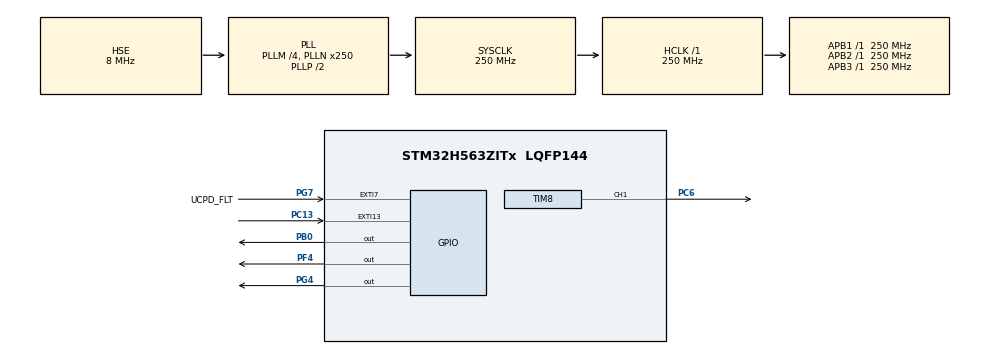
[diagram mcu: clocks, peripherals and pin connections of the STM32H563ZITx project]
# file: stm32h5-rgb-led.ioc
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BOOTPATH.BootPathName=LEGACY
BOOTPATH.UserSelectedBootPath=LEGACY
CORTEX_M33_NS.userName=CORTEX_M33
GPDMA1.CIRCULARMODE_GPDMACH0=ENABLE
GPDMA1.DESTDATAWIDTH_GPDMACH0=DMA_DEST_DATAWIDTH_WORD
GPDMA1.DIRECTION_GPDMACH0=DMA_MEMORY_TO_PERIPH
GPDMA1.IPHANDLE_GPDMACH0-SIMPLEREQUEST_GPDMACH0=__NULL
GPDMA1.REQUEST_GPDMACH0=GPDMA1_REQUEST_TIM8_CH1
GPDMA1.SRCDATAWIDTH_GPDMACH0=DMA_SRC_DATAWIDTH_WORD
GPDMA1.SRCINC_GPDMACH0=DMA_SINC_INCREMENTED
Mcu.Family=STM32H5
Mcu.Name=STM32H563ZITx
Mcu.Package=LQFP144
NUCLEO-H563ZI.BUTTON=1
NUCLEO-H563ZI.LD1=true
NUCLEO-H563ZI.LD2=true
NUCLEO-H563ZI.LD3=true
NUCLEO-H563ZI.VCP=true
NVIC.EXTI13_IRQn=true\:0\:0\:false\:false\:true\:false\:true\:true
NVIC.GPDMA1_Channel0_IRQn=true\:0\:0\:false\:false\:true\:false\:true\:true
NVIC.PriorityGroup=NVIC_PRIORITYGROUP_4
PA1.GPIO_Label=RMII_REF_CLK
PA1.GPIO_Mode=GPIO_MODE_AF_PP
PA1.GPIO_PuPd=GPIO_NOPULL
PA1.GPIO_Speed=GPIO_SPEED_FREQ_LOW
PA1.Signal=ETH_REF_CLK
PA11.GPIO_Label=USB_FS_N
PA11.Signal=USB_DM
PA12.GPIO_Label=USB_FS_P
PA12.Signal=USB_DP
PA13(JTMS/SWDIO).GPIO_Label=SWDIO
PA13(JTMS/SWDIO).Signal=DEBUG_JTMS-SWDIO
PA14(JTCK/SWCLK).GPIO_Label=SWCLK
PA14(JTCK/SWCLK).Signal=DEBUG_JTCK-SWCLK
PA15(JTDI).GPIO_Label=T_JTDI
PA15(JTDI).Signal=DEBUG_JTDI
PA2.GPIO_Label=RMII_MDIO
PA2.GPIO_Mode=GPIO_MODE_AF_PP
PA2.GPIO_PuPd=GPIO_NOPULL
PA2.GPIO_Speed=GPIO_SPEED_FREQ_LOW
PA2.Signal=ETH_MDIO
PA4.GPIO_Label=VBUS_SENSE
PA4.Signal=ADCx_INP18
PA7.GPIO_Label=RMII_CRS_DV
PA7.GPIO_Mode=GPIO_MODE_AF_PP
PA7.GPIO_PuPd=GPIO_NOPULL
PA7.GPIO_Speed=GPIO_SPEED_FREQ_LOW
PA7.Signal=ETH_CRS_DV
PA9.GPIO_Label=UCDP_DBn
PA9.Signal=UCPD1_DB1
PB0.Signal=GPIO_Output
PB13.GPIO_Label=UCPD_CC1
PB13.Signal=UCPD1_CC1
PB14.GPIO_Label=UCPD_CC2
PB14.Signal=UCPD1_CC2
PB15.GPIO_Label=RMII_TXD1
PB15.GPIO_Mode=GPIO_MODE_AF_PP
PB15.GPIO_PuPd=GPIO_NOPULL
PB15.GPIO_Speed=GPIO_SPEED_FREQ_LOW
PB15.Signal=ETH_TXD1
PB3(JTDO/TRACESWO).GPIO_Label=SWO
PB3(JTDO/TRACESWO).Signal=DEBUG_JTDO-SWO
PB6.GPIO_Label=ARD_D1_TX
PB6.Signal=LPUART1_TX
PB7.GPIO_Label=ARD_D0_RX
PB7.Signal=LPUART1_RX
PC1.GPIO_Label=RMII_MDC
PC1.GPIO_Mode=GPIO_MODE_AF_PP
PC1.GPIO_PuPd=GPIO_NOPULL
PC1.GPIO_Speed=GPIO_SPEED_FREQ_LOW
PC1.Signal=ETH_MDC
PC13.Signal=GPXTI13
PC14-OSC32_IN(OSC32_IN).Mode=LSE-External-Oscillator
PC14-OSC32_IN(OSC32_IN).Signal=RCC_OSC32_IN
PC15-OSC32_OUT(OSC32_OUT).Mode=LSE-External-Oscillator
PC15-OSC32_OUT(OSC32_OUT).Signal=RCC_OSC32_OUT
PC4.GPIO_Label=RMII_RXD0
PC4.GPIO_Mode=GPIO_MODE_AF_PP
PC4.GPIO_PuPd=GPIO_NOPULL
PC4.GPIO_Speed=GPIO_SPEED_FREQ_LOW
PC4.Signal=ETH_RXD0
PC5.GPIO_Label=RMII_RXD1
PC5.GPIO_Mode=GPIO_MODE_AF_PP
PC5.GPIO_PuPd=GPIO_NOPULL
PC5.GPIO_Speed=GPIO_SPEED_FREQ_LOW
PC5.Signal=ETH_RXD1
PC6.Signal=S_TIM8_CH1
PD8.Signal=USART3_TX
PD9.Signal=USART3_RX
PE2.GPIO_Label=TRACE_CK
PE2.Signal=DEBUG_TRACECLK
PE3.GPIO_Label=TRACE_D0
PE3.Signal=DEBUG_TRACED0
PE4.GPIO_Label=TRACE_D1
PE4.Signal=DEBUG_TRACED1
PE5.GPIO_Label=TRACE_D2
PE5.Signal=DEBUG_TRACED2
PE6.GPIO_Label=TRACE_D3
PE6.Signal=DEBUG_TRACED3
PF4.Signal=GPIO_Output
PG11.GPIO_Label=RMII_TXT_EN
PG11.GPIO_Mode=GPIO_MODE_AF_PP
PG11.GPIO_PuPd=GPIO_NOPULL
PG11.GPIO_Speed=GPIO_SPEED_FREQ_LOW
PG11.Signal=ETH_TX_EN
PG13.GPIO_Label=RMI_TXD0
PG13.GPIO_Mode=GPIO_MODE_AF_PP
PG13.GPIO_PuPd=GPIO_NOPULL
PG13.GPIO_Speed=GPIO_SPEED_FREQ_LOW
PG13.Signal=ETH_TXD0
PG4.Signal=GPIO_Output
PG7.GPIO_Label=UCPD_FLT
PG7.Signal=GPXTI7
PH0-OSC_IN(PH0).GPIO_Label=STLK_MCO
PH0-OSC_IN(PH0).Mode=HSE-External-Clock-Source
PH0-OSC_IN(PH0).Signal=RCC_OSC_IN
ProjectManager.HeapSize=0x200
ProjectManager.StackSize=0x400
ProjectManager.TargetToolchain=STM32CubeIDE
RCC.ADCFreq_Value=250000000
RCC.AHBFreq_Value=250000000
RCC.APB1Freq_Value=250000000
RCC.APB1TimFreq_Value=250000000
RCC.APB2Freq_Value=250000000
RCC.APB2TimFreq_Value=250000000
RCC.APB3Freq_Value=250000000
RCC.CSI_VALUE=4000000
RCC.CortexFreq_Value=250000000
RCC.EPOD_VALUE=8000000
RCC.HCLKFreq_Value=250000000
RCC.HSE_VALUE=8000000
RCC.HSI48_VALUE=48000000
RCC.HSIDiv=RCC_HSI_DIV1
RCC.HSI_VALUE=64000000
RCC.LSIRC_VALUE=32000
RCC.PLLM=4
RCC.PLLN=250
RCC.PLLSourceVirtual=RCC_PLL1_SOURCE_HSE
RCC.SYSCLKFreq_VALUE=250000000
RCC.SYSCLKSource=RCC_SYSCLKSOURCE_PLLCLK
RCC.USBFreq_Value=48000000
RCC.VCOOutputFreq_Value=500000000
SH.ADCx_INP18.0=ADC1_INP18
SH.S_TIM8_CH1.0=TIM8_CH1,PWM Generation1 CH1
TIM8.Channel-PWM\ Generation1\ CH1=TIM_CHANNEL_1
TIM8.PeriodNoDither=311
VP_BOOTPATH_VS_BOOTPATH.Mode=BP_Activate
VP_CORTEX_M33_NS_VS_Hclk.Mode=Hclk_Mode
VP_GPDMA1_VS_GPDMACH0.Mode=SIMPLEREQUEST_GPDMACH0
VP_MEMORYMAP_VS_MEMORYMAP.Mode=CurAppReg
VP_NUCLEO-H563ZI_VS_BSP_COMMON.Mode=COMMON
VP_PWR_VS_DBSignals.Mode=DisableDeadBatterySignals
VP_PWR_VS_LPOM.Mode=PowerOptimisation
VP_PWR_VS_SECSignals.Mode=Security/Privilege
VP_TIM8_VS_ClockSourceINT.Mode=Internal
board=NUCLEO-H563ZI

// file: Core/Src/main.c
/* USER CODE BEGIN Header */
/**
  ******************************************************************************
  * @file           : main.c
  * @brief          : Main program body
  ******************************************************************************
  * @attention
  *
  * Copyright (c) 2024 STMicroelectronics.
  * All rights reserved.
  *
  * This software is licensed under terms that can be found in the LICENSE file
  * in the root directory of this software component.
  * If no LICENSE file comes with this software, it is provided AS-IS.
  *
  ******************************************************************************
  */
/* USER CODE END Header */
#include "main.h"

/* USER CODE BEGIN Includes */
#include <stdint.h>
#include <stdlib.h>
/* USER CODE END Includes */

COM_InitTypeDef BspCOMInit;

TIM_HandleTypeDef htim8;
DMA_NodeTypeDef Node_GPDMA1_Channel0;
DMA_QListTypeDef List_GPDMA1_Channel0;
DMA_HandleTypeDef handle_GPDMA1_Channel0;

/* USER CODE BEGIN PV */
#define NUM_LEDS 6
#define BITS_PER_PIXEL (4 * 8)  // For strips with dedicated alpha

/**
 * Prescaler = 0 to keep the timer frequency at 250MHz (aka 4ns per cnt)
 * The WS2812B datasheet specifies that the PWM period should be 1.25us.
 * The closest that can be is 312, so set the period (ARR) value to 311
 * The duty cycle for a HI bit is 66%, and the duty for a LO bit is 33%
 */
const uint32_t WS2812_ARR = 311;
const uint32_t LED_HI_BIT = WS2812_ARR * 2 / 3;
const uint32_t LED_LO_BIT = WS2812_ARR * 1 / 3;

// My particular strip is GRBW
const uint32_t GREEN = 0xFF000000;
const uint32_t RED = 0x00FF0000;
const uint32_t BLUE = 0x0000FF00;
const uint32_t WHITE = 0x000000FF;
const uint32_t OFF = 0x00000000;

/**
 * How this particular strategy works is to have two LED's worth of duty-cycles in one DMA buffer.
 * The GPDMA fires an interrupt at every half transfer, and every full transfer.
 * This means at each interrupt, you can convert the next LED's worth of RGBW values into 24 u32's (led_pixel_buffer)
 */
static uint32_t led_pixel_buffer[BITS_PER_PIXEL * 2];

// This particular example does not reset the strip, it just blasts 6 LED's worth of data on the strip
uint32_t led_colors[NUM_LEDS] = {RED, WHITE, GREEN, BLUE, RED, OFF};
uint8_t current_led = 0;

/* USER CODE END PV */

void SystemClock_Config(void);
static void MX_GPIO_Init(void);
static void MX_GPDMA1_Init(void);
static void MX_TIM8_Init(void);
/* USER CODE BEGIN PFP */

static uint32_t reverse_bits(uint32_t orig);
static void grbw_to_pixel(uint32_t rgb, uint32_t* pixel_buf);
static void increment_led(uint8_t* led_count);

/* USER CODE END PFP */

/* USER CODE BEGIN 0 */

/**
 * Reverse bit order of a u32
 */
static uint32_t reverse_bits(uint32_t orig)
{
  uint32_t reversed = 0;
  const size_t num_bits = sizeof(orig) * 8;
  for (uint32_t i = 0; i< num_bits; i++)
  {
    if ((orig & (1 << i)))
    {
      reversed |= 1 << ((num_bits - 1) - i);
    }
  }

  return reversed;
}

/**
 * Convert a value from grbw space to the actual duty cycle values needed for the PWM waveform
 */
static void grbw_to_pixel(uint32_t grbw, uint32_t* pixel_buf)
{
  if (pixel_buf == NULL)
  {
    return;
  }

  /**
   * There is some wonky bit-wise stuff going on here.
   * My particular strip is GRBW. Which means that the green needs to be sent first
   * AKA the lower indices of pixel_buf.
   * However, in grbw_to_pixel we are incrementing i from 0, which means the green values
   * need to be evaluated first. This means that while my strip is GRBW, I need to reverse
   * the order of bits in the grbw value for them to be transmitted as grbw
   */
  uint32_t strip_order_grbw = reverse_bits(grbw);

  for (uint8_t i = 0; i < BITS_PER_PIXEL; i++)
  {
    uint32_t pix_mask = 1 << i;
    pixel_buf[i] = (pix_mask & strip_order_grbw) != 0 ? LED_HI_BIT : LED_LO_BIT;
  }
}

static void increment_led(uint8_t* led_count)
{
  *led_count += 1;
  if (*led_count >= NUM_LEDS)
  {
    *led_count = 0;
  }
}

/**
 * User implementation of the two GPDMA transfer callbacks (half transfer and full transfer)
 * As mentioned above, each of these callbacks will fire after transmitting one LED's worth of duty
 * cycles, as the full DMA buffer is two LED's worth of duty cycles.
 *
 * This allows us to use each callback to update the portion of led_pixel_buffer that just finished writing
 *
 *           1/2T         2/2T
 * >--------- v ---------- v ----------|
 * ^  LED1    |     LED2   |           |
 * |     update LED1    update LED2    |
 * |                                   |
 * |___________________________________|
 */
void HAL_TIM_PWM_PulseFinishedCallback(TIM_HandleTypeDef *htim)
{
  grbw_to_pixel(led_colors[current_led], &led_pixel_buffer[BITS_PER_PIXEL]);
  increment_led(&current_led);
}

void HAL_TIM_PWM_PulseFinishedHalfCpltCallback(TIM_HandleTypeDef *htim)
{
  grbw_to_pixel(led_colors[current_led], led_pixel_buffer);
  increment_led(&current_led);
}
/* USER CODE END 0 */

int main(void)
{

  /* USER CODE BEGIN 1 */
  // Filling the first two LED's so that each transfer is one LED worth
  grbw_to_pixel(led_colors[current_led], led_pixel_buffer);
  increment_led(&current_led);
  grbw_to_pixel(led_colors[current_led], &led_pixel_buffer[BITS_PER_PIXEL]);
  increment_led(&current_led);
  /* USER CODE END 1 */

  /* MCU Configuration--------------------------------------------------------*/

  /* Reset of all peripherals, Initializes the Flash interface and the Systick. */
  HAL_Init();

  /* Configure the system clock */
  SystemClock_Config();

  /* Initialize all configured peripherals */
  MX_GPIO_Init();
  MX_GPDMA1_Init();
  MX_TIM8_Init();
  /* USER CODE BEGIN 2 */

  // Even though we've configured the GPDMA to transmit by word, the HAL_TIM_PWM_Start_DMA
  // function takes the length of the DMA transfer buffer in BYTES.
  // This is important, otherwise you won't transfer the entire buffer!

  uint16_t bytes_for_transfer = BITS_PER_PIXEL * 2 * (sizeof(uint32_t) / sizeof(uint8_t));
  HAL_TIM_PWM_Start_DMA(&htim8, TIM_CHANNEL_1, led_pixel_buffer, bytes_for_transfer);

  /* USER CODE END 2 */

  /* Initialize leds */
  BSP_LED_Init(LED_GREEN);
  BSP_LED_Init(LED_YELLOW);
  BSP_LED_Init(LED_RED);

  /* Initialize USER push-button, will be used to trigger an interrupt each time it's pressed.*/
  BSP_PB_Init(BUTTON_USER, BUTTON_MODE_EXTI);

  /* Initialize COM1 port (115200, 8 bits (7-bit data + 1 stop bit), no parity */
  BspCOMInit.BaudRate   = 115200;
  BspCOMInit.WordLength = COM_WORDLENGTH_8B;
  BspCOMInit.StopBits   = COM_STOPBITS_1;
  BspCOMInit.Parity     = COM_PARITY_NONE;
  BspCOMInit.HwFlowCtl  = COM_HWCONTROL_NONE;
  if (BSP_COM_Init(COM1, &BspCOMInit) != BSP_ERROR_NONE)
  {
    Error_Handler();
  }

  /* Infinite loop */
  while (1)
  {

  }
}

void SystemClock_Config(void)
{
  RCC_OscInitTypeDef RCC_OscInitStruct = {0};
  RCC_ClkInitTypeDef RCC_ClkInitStruct = {0};

  /** Configure the main internal regulator output voltage
  */
  __HAL_PWR_VOLTAGESCALING_CONFIG(PWR_REGULATOR_VOLTAGE_SCALE0);

  while(!__HAL_PWR_GET_FLAG(PWR_FLAG_VOSRDY)) {}

  /** Initializes the RCC Oscillators according to the specified parameters
  * in the RCC_OscInitTypeDef structure.
  */
  RCC_OscInitStruct.OscillatorType = RCC_OSCILLATORTYPE_HSE;
  RCC_OscInitStruct.HSEState = RCC_HSE_BYPASS;
  RCC_OscInitStruct.PLL.PLLState = RCC_PLL_ON;
  RCC_OscInitStruct.PLL.PLLSource = RCC_PLL1_SOURCE_HSE;
  RCC_OscInitStruct.PLL.PLLM = 4;
  RCC_OscInitStruct.PLL.PLLN = 250;
  RCC_OscInitStruct.PLL.PLLP = 2;
  RCC_OscInitStruct.PLL.PLLQ = 2;
  RCC_OscInitStruct.PLL.PLLR = 2;
  RCC_OscInitStruct.PLL.PLLRGE = RCC_PLL1_VCIRANGE_1;
  RCC_OscInitStruct.PLL.PLLVCOSEL = RCC_PLL1_VCORANGE_WIDE;
  RCC_OscInitStruct.PLL.PLLFRACN = 0;
  if (HAL_RCC_OscConfig(&RCC_OscInitStruct) != HAL_OK)
  {
    Error_Handler();
  }

  /** Initializes the CPU, AHB and APB buses clocks
  */
  RCC_ClkInitStruct.ClockType = RCC_CLOCKTYPE_HCLK|RCC_CLOCKTYPE_SYSCLK
                              |RCC_CLOCKTYPE_PCLK1|RCC_CLOCKTYPE_PCLK2
                              |RCC_CLOCKTYPE_PCLK3;
  RCC_ClkInitStruct.SYSCLKSource = RCC_SYSCLKSOURCE_PLLCLK;
  RCC_ClkInitStruct.AHBCLKDivider = RCC_SYSCLK_DIV1;
  RCC_ClkInitStruct.APB1CLKDivider = RCC_HCLK_DIV1;
  RCC_ClkInitStruct.APB2CLKDivider = RCC_HCLK_DIV1;
  RCC_ClkInitStruct.APB3CLKDivider = RCC_HCLK_DIV1;

  if (HAL_RCC_ClockConfig(&RCC_ClkInitStruct, FLASH_LATENCY_5) != HAL_OK)
  {
    Error_Handler();
  }

  /** Configure the programming delay
  */
  __HAL_FLASH_SET_PROGRAM_DELAY(FLASH_PROGRAMMING_DELAY_2);
}

static void MX_GPDMA1_Init(void)
{

  /* Peripheral clock enable */
  __HAL_RCC_GPDMA1_CLK_ENABLE();

  /* GPDMA1 interrupt Init */
    HAL_NVIC_SetPriority(GPDMA1_Channel0_IRQn, 0, 0);
    HAL_NVIC_EnableIRQ(GPDMA1_Channel0_IRQn);

}

static void MX_TIM8_Init(void)
{

  TIM_ClockConfigTypeDef sClockSourceConfig = {0};
  TIM_MasterConfigTypeDef sMasterConfig = {0};
  TIM_OC_InitTypeDef sConfigOC = {0};
  TIM_BreakDeadTimeConfigTypeDef sBreakDeadTimeConfig = {0};

  htim8.Instance = TIM8;
  htim8.Init.Prescaler = 0;
  htim8.Init.CounterMode = TIM_COUNTERMODE_UP;
  htim8.Init.Period = 311;
  htim8.Init.ClockDivision = TIM_CLOCKDIVISION_DIV1;
  htim8.Init.RepetitionCounter = 0;
  htim8.Init.AutoReloadPreload = TIM_AUTORELOAD_PRELOAD_DISABLE;
  if (HAL_TIM_Base_Init(&htim8) != HAL_OK)
  {
    Error_Handler();
  }
  sClockSourceConfig.ClockSource = TIM_CLOCKSOURCE_INTERNAL;
  if (HAL_TIM_ConfigClockSource(&htim8, &sClockSourceConfig) != HAL_OK)
  {
    Error_Handler();
  }
  if (HAL_TIM_PWM_Init(&htim8) != HAL_OK)
  {
    Error_Handler();
  }
  sMasterConfig.MasterOutputTrigger = TIM_TRGO_RESET;
  sMasterConfig.MasterOutputTrigger2 = TIM_TRGO2_RESET;
  sMasterConfig.MasterSlaveMode = TIM_MASTERSLAVEMODE_DISABLE;
  if (HAL_TIMEx_MasterConfigSynchronization(&htim8, &sMasterConfig) != HAL_OK)
  {
    Error_Handler();
  }
  sConfigOC.OCMode = TIM_OCMODE_PWM1;
  sConfigOC.Pulse = 0;
  sConfigOC.OCPolarity = TIM_OCPOLARITY_HIGH;
  sConfigOC.OCNPolarity = TIM_OCNPOLARITY_HIGH;
  sConfigOC.OCFastMode = TIM_OCFAST_DISABLE;
  sConfigOC.OCIdleState = TIM_OCIDLESTATE_RESET;
  sConfigOC.OCNIdleState = TIM_OCNIDLESTATE_RESET;
  if (HAL_TIM_PWM_ConfigChannel(&htim8, &sConfigOC, TIM_CHANNEL_1) != HAL_OK)
  {
    Error_Handler();
  }
  sBreakDeadTimeConfig.OffStateRunMode = TIM_OSSR_DISABLE;
  sBreakDeadTimeConfig.OffStateIDLEMode = TIM_OSSI_DISABLE;
  sBreakDeadTimeConfig.LockLevel = TIM_LOCKLEVEL_OFF;
  sBreakDeadTimeConfig.DeadTime = 0;
  sBreakDeadTimeConfig.BreakState = TIM_BREAK_DISABLE;
  sBreakDeadTimeConfig.BreakPolarity = TIM_BREAKPOLARITY_HIGH;
  sBreakDeadTimeConfig.BreakFilter = 0;
  sBreakDeadTimeConfig.BreakAFMode = TIM_BREAK_AFMODE_INPUT;
  sBreakDeadTimeConfig.Break2State = TIM_BREAK2_DISABLE;
  sBreakDeadTimeConfig.Break2Polarity = TIM_BREAK2POLARITY_HIGH;
  sBreakDeadTimeConfig.Break2Filter = 0;
  sBreakDeadTimeConfig.Break2AFMode = TIM_BREAK_AFMODE_INPUT;
  sBreakDeadTimeConfig.AutomaticOutput = TIM_AUTOMATICOUTPUT_DISABLE;
  if (HAL_TIMEx_ConfigBreakDeadTime(&htim8, &sBreakDeadTimeConfig) != HAL_OK)
  {
    Error_Handler();
  }
  HAL_TIM_MspPostInit(&htim8);

}

static void MX_GPIO_Init(void)
{
  GPIO_InitTypeDef GPIO_InitStruct = {0};

  /* GPIO Ports Clock Enable */
  __HAL_RCC_GPIOE_CLK_ENABLE();
  __HAL_RCC_GPIOC_CLK_ENABLE();
  __HAL_RCC_GPIOH_CLK_ENABLE();
  __HAL_RCC_GPIOA_CLK_ENABLE();
  __HAL_RCC_GPIOB_CLK_ENABLE();
  __HAL_RCC_GPIOG_CLK_ENABLE();

  /*Configure GPIO pins : RMII_MDC_Pin RMII_RXD0_Pin RMII_RXD1_Pin */
  GPIO_InitStruct.Pin = RMII_MDC_Pin|RMII_RXD0_Pin|RMII_RXD1_Pin;
  GPIO_InitStruct.Mode = GPIO_MODE_AF_PP;
  GPIO_InitStruct.Pull = GPIO_NOPULL;
  GPIO_InitStruct.Speed = GPIO_SPEED_FREQ_HIGH;
  GPIO_InitStruct.Alternate = GPIO_AF11_ETH;
  HAL_GPIO_Init(GPIOC, &GPIO_InitStruct);

  /*Configure GPIO pins : RMII_REF_CLK_Pin RMII_MDIO_Pin RMII_CRS_DV_Pin */
  GPIO_InitStruct.Pin = RMII_REF_CLK_Pin|RMII_MDIO_Pin|RMII_CRS_DV_Pin;
  GPIO_InitStruct.Mode = GPIO_MODE_AF_PP;
  GPIO_InitStruct.Pull = GPIO_NOPULL;
  GPIO_InitStruct.Speed = GPIO_SPEED_FREQ_HIGH;
  GPIO_InitStruct.Alternate = GPIO_AF11_ETH;
  HAL_GPIO_Init(GPIOA, &GPIO_InitStruct);

  /*Configure GPIO pin : VBUS_SENSE_Pin */
  GPIO_InitStruct.Pin = VBUS_SENSE_Pin;
  GPIO_InitStruct.Mode = GPIO_MODE_ANALOG;
  GPIO_InitStruct.Pull = GPIO_NOPULL;
  HAL_GPIO_Init(VBUS_SENSE_GPIO_Port, &GPIO_InitStruct);

  /*Configure GPIO pins : UCPD_CC1_Pin UCPD_CC2_Pin */
  GPIO_InitStruct.Pin = UCPD_CC1_Pin|UCPD_CC2_Pin;
  GPIO_InitStruct.Mode = GPIO_MODE_ANALOG;
  GPIO_InitStruct.Pull = GPIO_NOPULL;
  HAL_GPIO_Init(GPIOB, &GPIO_InitStruct);

  /*Configure GPIO pin : RMII_TXD1_Pin */
  GPIO_InitStruct.Pin = RMII_TXD1_Pin;
  GPIO_InitStruct.Mode = GPIO_MODE_AF_PP;
  GPIO_InitStruct.Pull = GPIO_NOPULL;
  GPIO_InitStruct.Speed = GPIO_SPEED_FREQ_HIGH;
  GPIO_InitStruct.Alternate = GPIO_AF11_ETH;
  HAL_GPIO_Init(RMII_TXD1_GPIO_Port, &GPIO_InitStruct);

  /*Configure GPIO pin : UCPD_FLT_Pin */
  GPIO_InitStruct.Pin = UCPD_FLT_Pin;
  GPIO_InitStruct.Mode = GPIO_MODE_IT_RISING;
  GPIO_InitStruct.Pull = GPIO_NOPULL;
  HAL_GPIO_Init(UCPD_FLT_GPIO_Port, &GPIO_InitStruct);

  /*Configure GPIO pins : USB_FS_N_Pin USB_FS_P_Pin */
  GPIO_InitStruct.Pin = USB_FS_N_Pin|USB_FS_P_Pin;
  GPIO_InitStruct.Mode = GPIO_MODE_AF_PP;
  GPIO_InitStruct.Pull = GPIO_NOPULL;
  GPIO_InitStruct.Speed = GPIO_SPEED_FREQ_LOW;
  GPIO_InitStruct.Alternate = GPIO_AF10_USB;
  HAL_GPIO_Init(GPIOA, &GPIO_InitStruct);

  /*Configure GPIO pins : RMII_TXT_EN_Pin RMI_TXD0_Pin */
  GPIO_InitStruct.Pin = RMII_TXT_EN_Pin|RMI_TXD0_Pin;
  GPIO_InitStruct.Mode = GPIO_MODE_AF_PP;
  GPIO_InitStruct.Pull = GPIO_NOPULL;
  GPIO_InitStruct.Speed = GPIO_SPEED_FREQ_HIGH;
  GPIO_InitStruct.Alternate = GPIO_AF11_ETH;
  HAL_GPIO_Init(GPIOG, &GPIO_InitStruct);

  /*Configure GPIO pins : ARD_D1_TX_Pin ARD_D0_RX_Pin */
  GPIO_InitStruct.Pin = ARD_D1_TX_Pin|ARD_D0_RX_Pin;
  GPIO_InitStruct.Mode = GPIO_MODE_AF_PP;
  GPIO_InitStruct.Pull = GPIO_NOPULL;
  GPIO_InitStruct.Speed = GPIO_SPEED_FREQ_LOW;
  GPIO_InitStruct.Alternate = GPIO_AF8_LPUART1;
  HAL_GPIO_Init(GPIOB, &GPIO_InitStruct);

}

void Error_Handler(void)
{
  __disable_irq();
  while (1)
  {
  }
}
